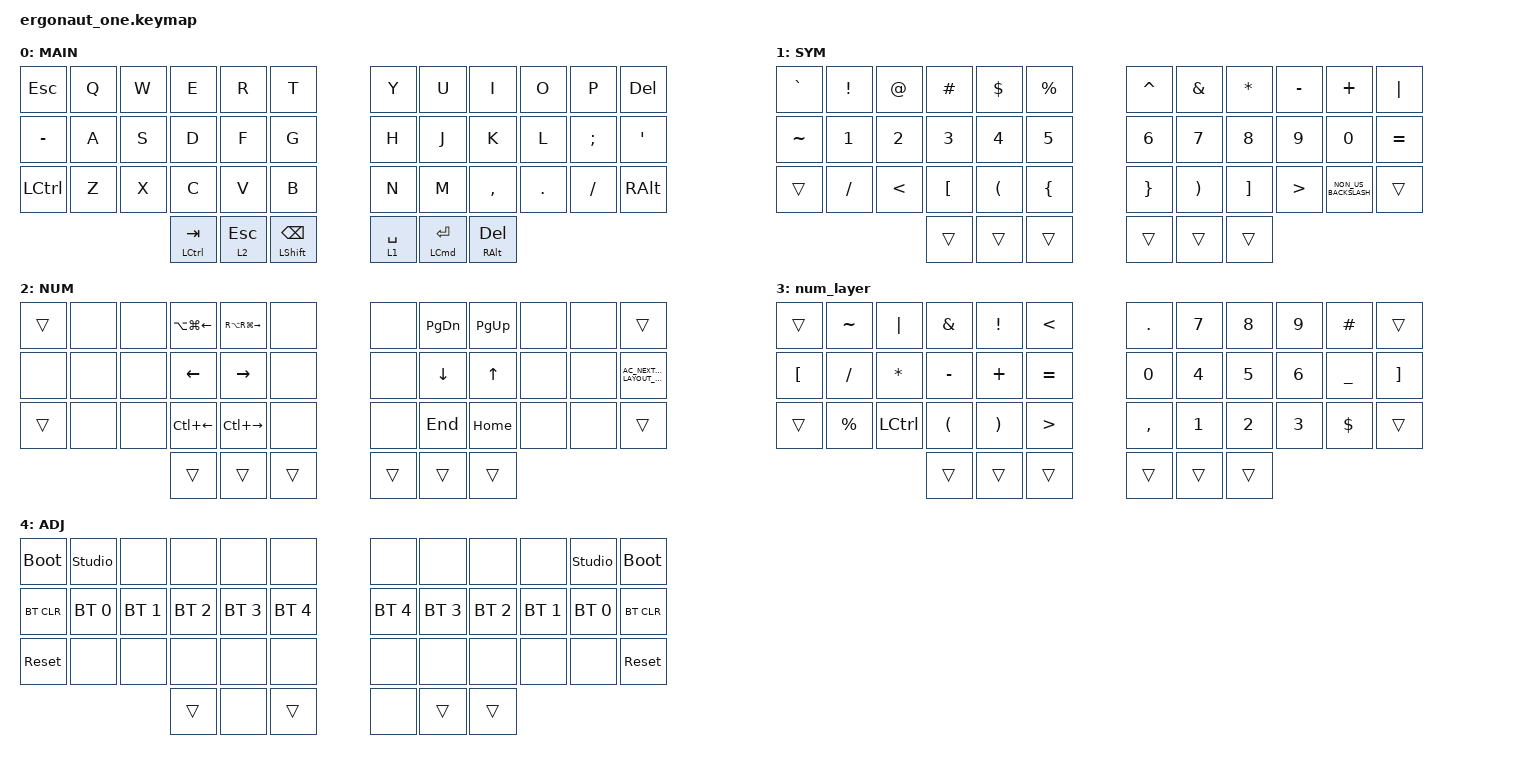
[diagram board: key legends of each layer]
#include <behaviors.dtsi>
#include <dt-bindings/zmk/bt.h>
#include <dt-bindings/zmk/keys.h>

#define DEF 0
#define LWR 1
#define RSE 2
#define ADJ 3

&lt { quick-tap-ms = <200>; };

&mt { quick-tap-ms = <200>; };

/ {
    conditional_layers {
        compatible = "zmk,conditional-layers";

        tri-layer {
            if-layers = <1 2>;
            then-layer = <4>;
        };
    };

    combos {
        compatible = "zmk,combos";

        tab {
            bindings = <&kp TAB>;
            key-positions = <14 16 15>;
        };

        full-navigation {
            bindings = <&tog 2>;
            key-positions = <20 19 21>;
        };
    };

    keymap {
        compatible = "zmk,keymap";

        default_layer {
            display-name = "MAIN";
            bindings = <
&kp ESCAPE        &kp Q  &kp W  &kp E                 &kp R         &kp T                     &kp Y        &kp U                   &kp I              &kp O    &kp P     &kp DEL
&kp MINUS         &kp A  &kp S  &kp D                 &kp F         &kp G                     &kp H        &kp J                   &kp K              &kp L    &kp SEMI  &kp SQT
&kp LEFT_CONTROL  &kp Z  &kp X  &kp C                 &kp V         &kp B                     &kp N        &kp M                   &kp COMMA          &kp DOT  &kp FSLH  &kp RIGHT_ALT
                                &mt LEFT_CONTROL TAB  &lt 2 ESCAPE  &mt LEFT_SHIFT BACKSPACE  &lt 1 SPACE  &mt LEFT_COMMAND ENTER  &mt RIGHT_ALT DEL
            >;
        };

        sym_layer {
            display-name = "SYM";
            bindings = <
&kp GRAVE  &kp EXCLAMATION  &kp AT_SIGN    &kp HASH          &kp DOLLAR            &kp PERCENT     &kp CARET        &kp AMPERSAND          &kp ASTERISK       &kp MINUS         &kp PLUS              &kp PIPE
&kp TILDE  &kp NUMBER_1     &kp NUMBER_2   &kp NUMBER_3      &kp NUMBER_4          &kp N5          &kp NUMBER_6     &kp N7                 &kp N8             &kp N9            &kp N0                &kp EQUAL
&trans     &kp SLASH        &kp LESS_THAN  &kp LEFT_BRACKET  &kp LEFT_PARENTHESIS  &kp LEFT_BRACE  &kp RIGHT_BRACE  &kp RIGHT_PARENTHESIS  &kp RIGHT_BRACKET  &kp GREATER_THAN  &kp NON_US_BACKSLASH  &trans
                                           &trans            &trans                &trans          &trans           &trans                 &trans
            >;
        };

        nav_layer {
            display-name = "NUM";
            bindings = <
&trans  &none  &none  &kp LA(LG(LEFT_ARROW))  &kp RA(RG(RIGHT_ARROW))  &none   &none   &kp PAGE_DOWN   &kp PAGE_UP  &none  &none  &trans
&none   &none  &none  &kp LEFT                &kp RIGHT_ARROW          &none   &none   &kp DOWN_ARROW  &kp UP       &none  &none  &kp C_AC_NEXT_KEYBOARD_LAYOUT_SELECT
&trans  &none  &none  &kp LC(LEFT_ARROW)      &kp LC(RIGHT_ARROW)      &none   &none   &kp END         &kp HOME     &none  &none  &trans
                      &trans                  &trans                   &trans  &trans  &trans          &trans
            >;
        };

        num_layer {
            bindings = <
&trans            &kp TILDE    &kp PIPE      &kp AMPERSAND         &kp EXCLAMATION        &kp LESS_THAN     &kp DOT    &kp N7        &kp N8        &kp N9        &kp HASH        &trans
&kp LEFT_BRACKET  &kp SLASH    &kp ASTERISK  &kp MINUS             &kp PLUS               &kp EQUAL         &kp N0     &kp NUMBER_4  &kp N5        &kp NUMBER_6  &kp UNDERSCORE  &kp RIGHT_BRACKET
&trans            &kp PERCENT  &kp LCTRL     &kp LEFT_PARENTHESIS  &kp RIGHT_PARENTHESIS  &kp GREATER_THAN  &kp COMMA  &kp NUMBER_1  &kp NUMBER_2  &kp NUMBER_3  &kp DOLLAR      &trans
                                             &trans                &trans                 &trans            &trans     &trans        &trans
            >;
        };

        adjust_layer {
            display-name = "ADJ";
            bindings = <
&bootloader  &studio_unlock  &none         &none         &none         &none         &none         &none         &none         &none         &studio_unlock  &bootloader
&bt BT_CLR   &bt BT_SEL 0    &bt BT_SEL 1  &bt BT_SEL 2  &bt BT_SEL 3  &bt BT_SEL 4  &bt BT_SEL 4  &bt BT_SEL 3  &bt BT_SEL 2  &bt BT_SEL 1  &bt BT_SEL 0    &bt BT_CLR
&sys_reset   &none           &none         &none         &none         &none         &none         &none         &none         &none         &none           &sys_reset
                                           &trans        &none         &trans        &none         &trans        &trans
            >;
        };
    };
};
